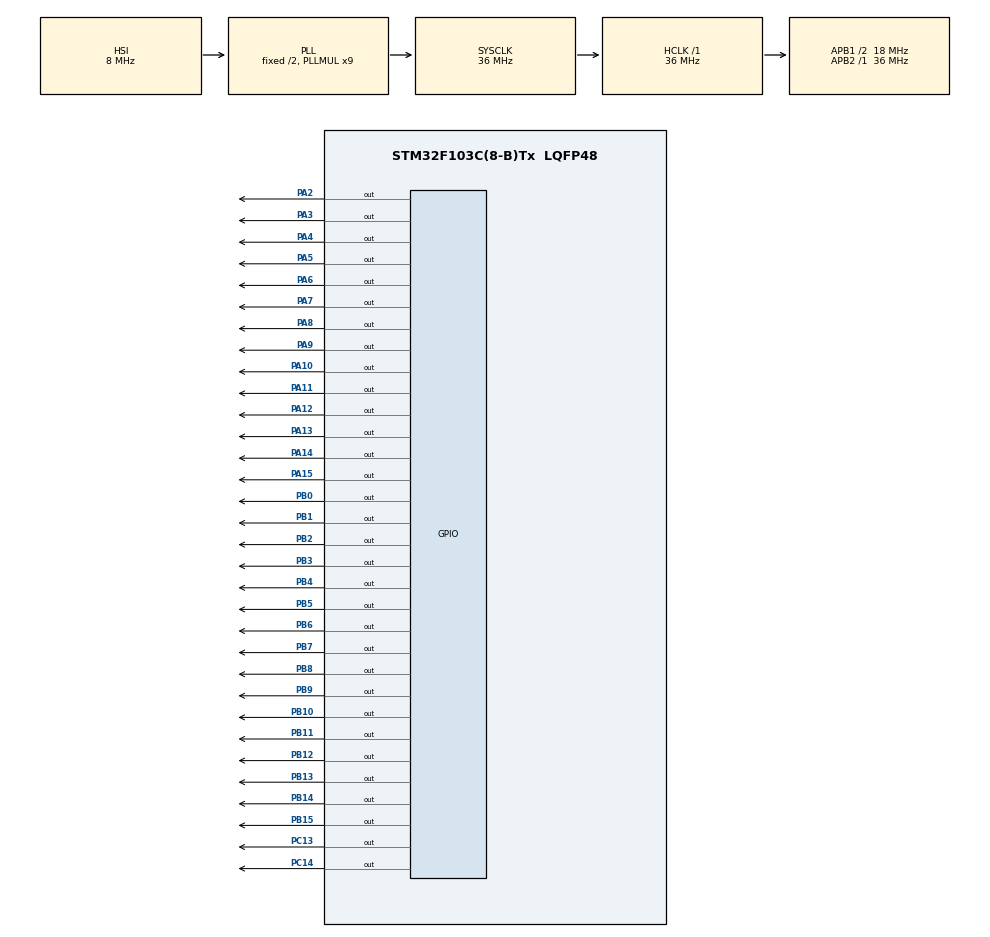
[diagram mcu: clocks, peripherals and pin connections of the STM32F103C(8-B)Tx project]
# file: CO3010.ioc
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Mcu.Family=STM32F1
Mcu.Name=STM32F103C(8-B)Tx
Mcu.Package=LQFP48
NVIC.PriorityGroup=NVIC_PRIORITYGROUP_4
NVIC.TIM2_IRQn=true\:0\:0\:false\:false\:true\:true\:true\:true
PA10.GPIO_ModeDefault=GPIO_MODE_OUTPUT_PP
PA10.Signal=GPIO_Output
PA11.GPIO_ModeDefault=GPIO_OUTPUT_PP
PA11.Signal=GPIO_Output
PA12.Signal=GPIO_Output
PA13.Signal=GPIO_Output
PA14.Signal=GPIO_Output
PA15.Signal=GPIO_Output
PA2.Signal=GPIO_Output
PA3.Signal=GPIO_Output
PA4.GPIO_ModeDefault=GPIO_MODE_OUTPUT_PP
PA4.Signal=GPIO_Output
PA5.GPIO_ModeDefault=GPIO_MODE_OUTPUT_PP
PA5.Signal=GPIO_Output
PA6.GPIO_ModeDefault=GPIO_MODE_OUTPUT_PP
PA6.Signal=GPIO_Output
PA7.GPIO_ModeDefault=GPIO_MODE_OUTPUT_PP
PA7.Signal=GPIO_Output
PA8.Signal=GPIO_Output
PA9.GPIO_ModeDefault=GPIO_MODE_OUTPUT_PP
PA9.Signal=GPIO_Output
PB0.Signal=GPIO_Output
PB1.Signal=GPIO_Output
PB10.Signal=GPIO_Output
PB11.Signal=GPIO_Output
PB12.Signal=GPIO_Output
PB13.Signal=GPIO_Output
PB14.Signal=GPIO_Output
PB15.Signal=GPIO_Output
PB2.Signal=GPIO_Output
PB3.Signal=GPIO_Output
PB4.Signal=GPIO_Output
PB5.Signal=GPIO_Output
PB6.Signal=GPIO_Output
PB7.Signal=GPIO_Output
PB8.Signal=GPIO_Output
PB9.Signal=GPIO_Output
PC13-TAMPER-RTC.GPIO_ModeDefault=GPIO_MODE_OUTPUT_PP
PC13-TAMPER-RTC.Signal=GPIO_Output
PC14-OSC32_IN.GPIO_ModeDefault=GPIO_MODE_OUTPUT_PP
PC14-OSC32_IN.Signal=GPIO_Output
ProjectManager.HeapSize=0x200
ProjectManager.StackSize=0x400
ProjectManager.TargetToolchain=CMake
RCC.AHBFreq_Value=36000000
RCC.APB1CLKDivider=RCC_HCLK_DIV2
RCC.APB1Freq_Value=18000000
RCC.APB1TimFreq_Value=36000000
RCC.APB2Freq_Value=36000000
RCC.APB2TimFreq_Value=36000000
RCC.HCLKFreq_Value=36000000
RCC.PLLMUL=RCC_PLL_MUL9
RCC.SYSCLKFreq_VALUE=36000000
RCC.SYSCLKSource=RCC_SYSCLKSOURCE_PLLCLK
RCC.USBFreq_Value=36000000
TIM2.Period=9
TIM2.Prescaler=35999
VP_SYS_VS_ND.Mode=No_Debug
VP_TIM2_VS_ClockSourceINT.Mode=Internal
board=custom

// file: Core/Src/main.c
/* USER CODE BEGIN Header */
/**
 ******************************************************************************
 * @file           : main.c
 * @brief          : Main program body
 ******************************************************************************
 * @attention
 *
 * Copyright (c) 2026 STMicroelectronics.
 * All rights reserved.
 *
 * This software is licensed under terms that can be found in the LICENSE file
 * in the root directory of this software component.
 * If no LICENSE file comes with this software, it is provided AS-IS.
 *
 ******************************************************************************
 */
/* USER CODE END Header */
#include "main.h"

/* USER CODE BEGIN Includes */
#include "seg7.h"
/* USER CODE END Includes */

/* USER CODE BEGIN PD */
#define MATRIX_ROW_PORT GPIOB
#define MATRIX_COL_PORT GPIOA
#define DIGIT_EN_PORT GPIOA
#define SEG_PORT GPIOB
#define LED_D1_PIN GPIO_PIN_5 // PA5: Active LOW
#define DOT_PIN GPIO_PIN_4    // PA4
#define LED_NUM 4
#define DOT GPIO_PIN_4
#define TICK_INTERVAL_MS 10
#define SOFT_TIMER_NUM_MAX 10
#define MAX_LED_MATRIX 8

/* USER CODE END PD */

TIM_HandleTypeDef htim2;

/* USER CODE BEGIN PV */
/* Row pins PB8 -> PB15 (Anodes) */
static uint16_t matrix_row_pins[8] = {
    GPIO_PIN_8,  // ROW0
    GPIO_PIN_9,  // ROW1
    GPIO_PIN_10, // ROW2
    GPIO_PIN_11, // ROW3
    GPIO_PIN_12, // ROW4
    GPIO_PIN_13, // ROW5
    GPIO_PIN_14, // ROW6
    GPIO_PIN_15  // ROW7
};

/* Column enable pins ENM0 -> ENM7 (ULN2803 inputs on GPIOA) */
static uint16_t matrix_col_pins[8] = {
    GPIO_PIN_2,  // ENM0 -> COL0
    GPIO_PIN_3,  // ENM1 -> COL1
    GPIO_PIN_10, // ENM2 -> COL2
    GPIO_PIN_11, // ENM3 -> COL3
    GPIO_PIN_12, // ENM4 -> COL4
    GPIO_PIN_13, // ENM5 -> COL5
    GPIO_PIN_14, // ENM6 -> COL6
    GPIO_PIN_15  // ENM7 -> COL7
};

/* 7-Segment segment pins PB0 -> PB7 (Cathodes for Common Anode) */
static uint16_t seg_pins[8] = {
    GPIO_PIN_0, GPIO_PIN_1, GPIO_PIN_2, GPIO_PIN_3,
    GPIO_PIN_4, GPIO_PIN_5, GPIO_PIN_6, GPIO_PIN_7};

/* 7-Segment digit enable pins EN0 -> EN3 on GPIOA (Common Anode: Active HIGH) */
static uint16_t digit_en_pins[4] = {
    GPIO_PIN_6, // EN0
    GPIO_PIN_7, // EN1
    GPIO_PIN_8, // EN2
    GPIO_PIN_9  // EN3
};

/* Digits to display on the 4 7-segment displays */
static uint8_t led_buffer[4] = {1, 2, 3, 0};

/* 8x8 LED Matrix Heart Bitmap (Column-scanned: bit r = Row r, active HIGH) */
static uint8_t matrix_bitmap[8] = {
    0x00, // Col 0: 00000000
    0xFC, // Col 1: 11111100
    0x12, // Col 2: 00010010
    0x11, // Col 3: 00010001
    0x11, // Col 4: 00010001
    0x12, // Col 5: 00010010
    0xFC, // Col 6: 11111100
    0x00  // Col 7: 00000000
};

/* Multiplexing and timing tracking variables */
static volatile uint8_t current_matrix_col = 0;
static volatile uint8_t current_seg7_digit = 0;
static volatile uint16_t seg7_timer_counter = 0;
static volatile uint16_t d1_blink_counter = 0;
static volatile uint8_t counter = 0;
static volatile uint8_t dot_counter = 2;
static volatile uint8_t timer_flag[SOFT_TIMER_NUM_MAX] = {0};     // Flags for software timers
static volatile uint16_t timer_counter[SOFT_TIMER_NUM_MAX] = {0}; // Counters for software timers
static seg7_handle_t seg7_handler = {0};                          // Current segment states for 7-segment display
int hour = 15, minute = 8, second = 50;
/* USER CODE END PV */

void SystemClock_Config(void);
static void MX_GPIO_Init(void);
static void MX_TIM2_Init(void);
/* USER CODE BEGIN PFP */
void setTimer(uint8_t timer_index, uint16_t duration_ms);
void timerRun(void);

void HAL_TIM_PeriodElapsedCallback(TIM_HandleTypeDef *htim);
void update7SEG(int index);
void updateClockBuffer();
void updateMatrixRows(uint8_t col_index);
void updateLedMatrix(uint8_t index);
void clearMatrix();
/* USER CODE END PFP */

/* USER CODE BEGIN 0 */
void setTimer(uint8_t timer_index, uint16_t duration_ms)
{
  timer_counter[timer_index] = duration_ms / TICK_INTERVAL_MS; // convert duration to ticks
  timer_flag[timer_index] = 0;                                 // clear the timer if the index is out of range
}

void timerRun(void)
{
  for (uint8_t i = 0; i < SOFT_TIMER_NUM_MAX; i++)
  {
    if (timer_counter[i] > 0)
    {
      timer_counter[i]--;
      if (timer_counter[i] == 0)
      {
        timer_flag[i] = 1; // set the flag when the timer expires
      }
    }
  }
}

void update7SEG(int index)
{
  for (uint8_t i = 0; i < LED_NUM; i++)
  {
    HAL_GPIO_WritePin(GPIOA, digit_en_pins[i], GPIO_PIN_SET);
  }

  HAL_GPIO_WritePin(GPIOA, digit_en_pins[index], GPIO_PIN_RESET);

  if (index < 0 || index >= LED_NUM)
    return;

  SEG7Set_Digit(&seg7_handler, led_buffer[index]);
}

void updateClockBuffer()
{
  led_buffer[0] = hour / 10;
  led_buffer[1] = hour - 10 * led_buffer[0];
  led_buffer[2] = minute / 10;
  led_buffer[3] = minute - 10 * led_buffer[2];
}

// Use for column scanning

void updateMatrixRows(uint8_t col_index)
{
  if (col_index >= MAX_LED_MATRIX)
    return;

  // Turn off all columns first
  clearMatrix();

  // Set the rows based on the bitmap for the current column
  HAL_GPIO_WritePin(MATRIX_COL_PORT, matrix_col_pins[col_index], GPIO_PIN_RESET);
  uint8_t row_data = matrix_bitmap[col_index];
  for (uint8_t row = 0; row < MAX_LED_MATRIX; row++)
  {
    GPIO_PinState pin_state = (row_data & (1 << row)) ? GPIO_PIN_RESET : GPIO_PIN_SET;
    HAL_GPIO_WritePin(MATRIX_ROW_PORT, matrix_row_pins[row], pin_state);
  }

  // Enable the current column
}

void clearMatrix()
{
  for (uint8_t i = 0; i < MAX_LED_MATRIX; i++)
  {
    HAL_GPIO_WritePin(MATRIX_COL_PORT, matrix_col_pins[i], GPIO_PIN_SET);
  }
  for (uint8_t row = 0; row < MAX_LED_MATRIX; row++)
  {
    HAL_GPIO_WritePin(MATRIX_ROW_PORT, matrix_row_pins[row], GPIO_PIN_SET);
  }
}

void updateLedMatrix(uint8_t index)
{
  switch (index)
  {
  case 0:
    updateMatrixRows(0);
    break;

  case 1:
    updateMatrixRows(1);
    break;

  case 2:
    updateMatrixRows(2);
    break;

  case 3:
    updateMatrixRows(3);
    break;

  case 4:
    updateMatrixRows(4);
    break;

  case 5:
    updateMatrixRows(5);
    break;

  case 6:
    updateMatrixRows(6);
    break;

  case 7:
    updateMatrixRows(7);
    break;

  default:
    break;
  }
}

/* USER CODE END 0 */

int main(void)
{

  /* MCU Configuration--------------------------------------------------------*/

  /* Reset of all peripherals, Initializes the Flash interface and the Systick. */
  HAL_Init();

  /* Configure the system clock */
  SystemClock_Config();

  /* Initialize all configured peripherals */
  MX_GPIO_Init();
  MX_TIM2_Init();
  /* USER CODE BEGIN 2 */
  /* Start TIM2 in Interrupt mode (1 ms tick) */
  if (HAL_TIM_Base_Start_IT(&htim2) != HAL_OK)
  {
    Error_Handler();
  }
  /* USER CODE END 2 */

  /* Infinite loop */
  /* USER CODE BEGIN WHILE */

  SEG7Init(&seg7_handler, SEG7_COMMON_ANODE, SEG_PORT, seg_pins);
  for (uint8_t i = 0; i < SOFT_TIMER_NUM_MAX; i++)
  {
    setTimer(i, 0); // Reset all software timers to 0
  }
  clearMatrix();

  setTimer(0, 1000); // Set timer 0 for 1 second
  setTimer(1, 250);
  setTimer(2, 500); // Set timer 1 for 500 ms
  setTimer(3, 50);  // Set timer 2 for 1 second
  while (1)
  {
    /* USER CODE END WHILE */

    /* USER CODE BEGIN 3 */
    if (timer_flag[0])
    {
      timer_flag[0] = 0; // Clear the flag
      setTimer(0, 1000); // Reset timer 0 for another second
      second++;
      if (second >= 60)
      {
        second = 0;
        minute++;
        if (minute >= 60)
        {
          minute = 0;
          hour++;
          if (hour >= 24)
          {
            hour = 0;
          }
        }
      }
      updateClockBuffer();
      // shift right the bitmap
      uint8_t tmp = matrix_bitmap[7];
      for (uint8_t i = 7; i > 0; i--)
      {
        matrix_bitmap[i] = matrix_bitmap[i - 1];
      }
      matrix_bitmap[0] = tmp;
    }
    if (timer_flag[1])
    {
      timer_flag[1] = 0; // Clear the flag
      setTimer(1, 250);  // Reset timer 1 for another 250 ms
      update7SEG(current_seg7_digit);
      current_seg7_digit = (current_seg7_digit + 1) % LED_NUM;
    }
    if (timer_flag[2])
    {
      timer_flag[2] = 0;                  // Clear the flag
      setTimer(2, 500);                   // Reset timer 2 for another 500 ms
      HAL_GPIO_TogglePin(GPIOA, DOT_PIN); // Toggle the dot
    }
    if (timer_flag[3])
    {
      timer_flag[3] = 0; // Clear the flag
      setTimer(3, 50);   // Reset timer 3 for another 100 ms
      updateLedMatrix(current_matrix_col);
      current_matrix_col = (current_matrix_col + 1) % MAX_LED_MATRIX;
    }
  }
  /* USER CODE END 3 */
}

void SystemClock_Config(void)
{
  RCC_OscInitTypeDef RCC_OscInitStruct = {0};
  RCC_ClkInitTypeDef RCC_ClkInitStruct = {0};

  /** Initializes the RCC Oscillators according to the specified parameters
   * in the RCC_OscInitTypeDef structure.
   */
  RCC_OscInitStruct.OscillatorType = RCC_OSCILLATORTYPE_HSI;
  RCC_OscInitStruct.HSIState = RCC_HSI_ON;
  RCC_OscInitStruct.HSICalibrationValue = RCC_HSICALIBRATION_DEFAULT;
  RCC_OscInitStruct.PLL.PLLState = RCC_PLL_ON;
  RCC_OscInitStruct.PLL.PLLSource = RCC_PLLSOURCE_HSI_DIV2;
  RCC_OscInitStruct.PLL.PLLMUL = RCC_PLL_MUL9;
  if (HAL_RCC_OscConfig(&RCC_OscInitStruct) != HAL_OK)
  {
    Error_Handler();
  }

  /** Initializes the CPU, AHB and APB buses clocks
   */
  RCC_ClkInitStruct.ClockType = RCC_CLOCKTYPE_HCLK | RCC_CLOCKTYPE_SYSCLK | RCC_CLOCKTYPE_PCLK1 | RCC_CLOCKTYPE_PCLK2;
  RCC_ClkInitStruct.SYSCLKSource = RCC_SYSCLKSOURCE_PLLCLK;
  RCC_ClkInitStruct.AHBCLKDivider = RCC_SYSCLK_DIV1;
  RCC_ClkInitStruct.APB1CLKDivider = RCC_HCLK_DIV2;
  RCC_ClkInitStruct.APB2CLKDivider = RCC_HCLK_DIV1;

  if (HAL_RCC_ClockConfig(&RCC_ClkInitStruct, FLASH_LATENCY_1) != HAL_OK)
  {
    Error_Handler();
  }
}

static void MX_TIM2_Init(void)
{

  TIM_ClockConfigTypeDef sClockSourceConfig = {0};
  TIM_MasterConfigTypeDef sMasterConfig = {0};

  htim2.Instance = TIM2;
  htim2.Init.Prescaler = 35999;
  htim2.Init.CounterMode = TIM_COUNTERMODE_UP;
  htim2.Init.Period = 9;
  htim2.Init.ClockDivision = TIM_CLOCKDIVISION_DIV1;
  htim2.Init.AutoReloadPreload = TIM_AUTORELOAD_PRELOAD_DISABLE;
  if (HAL_TIM_Base_Init(&htim2) != HAL_OK)
  {
    Error_Handler();
  }
  sClockSourceConfig.ClockSource = TIM_CLOCKSOURCE_INTERNAL;
  if (HAL_TIM_ConfigClockSource(&htim2, &sClockSourceConfig) != HAL_OK)
  {
    Error_Handler();
  }
  sMasterConfig.MasterOutputTrigger = TIM_TRGO_RESET;
  sMasterConfig.MasterSlaveMode = TIM_MASTERSLAVEMODE_DISABLE;
  if (HAL_TIMEx_MasterConfigSynchronization(&htim2, &sMasterConfig) != HAL_OK)
  {
    Error_Handler();
  }
}

static void MX_GPIO_Init(void)
{
  GPIO_InitTypeDef GPIO_InitStruct = {0};
  /* USER CODE BEGIN MX_GPIO_Init_1 */
  /* Enable AFIO clock and disable JTAG/SWD to release PA13, PA14, PA15, PB3, PB4 */
  __HAL_RCC_AFIO_CLK_ENABLE();
  __HAL_AFIO_REMAP_SWJ_DISABLE();
  /* USER CODE END MX_GPIO_Init_1 */

  /* GPIO Ports Clock Enable */
  __HAL_RCC_GPIOC_CLK_ENABLE();
  __HAL_RCC_GPIOA_CLK_ENABLE();
  __HAL_RCC_GPIOB_CLK_ENABLE();

  /*Configure GPIO pin Output Level */
  HAL_GPIO_WritePin(GPIOC, GPIO_PIN_13 | GPIO_PIN_14, GPIO_PIN_RESET);

  /*Configure GPIO pin Output Level */
  HAL_GPIO_WritePin(GPIOA, GPIO_PIN_2 | GPIO_PIN_3 | GPIO_PIN_4 | GPIO_PIN_5 | GPIO_PIN_6 | GPIO_PIN_7 | GPIO_PIN_8 | GPIO_PIN_9 | GPIO_PIN_10 | GPIO_PIN_11 | GPIO_PIN_12 | GPIO_PIN_13 | GPIO_PIN_14 | GPIO_PIN_15, GPIO_PIN_RESET);

  /*Configure GPIO pin Output Level */
  HAL_GPIO_WritePin(GPIOB, GPIO_PIN_0 | GPIO_PIN_1 | GPIO_PIN_2 | GPIO_PIN_10 | GPIO_PIN_11 | GPIO_PIN_12 | GPIO_PIN_13 | GPIO_PIN_14 | GPIO_PIN_15 | GPIO_PIN_3 | GPIO_PIN_4 | GPIO_PIN_5 | GPIO_PIN_6 | GPIO_PIN_7 | GPIO_PIN_8 | GPIO_PIN_9, GPIO_PIN_RESET);

  /*Configure GPIO pins : PC13 PC14 */
  GPIO_InitStruct.Pin = GPIO_PIN_13 | GPIO_PIN_14;
  GPIO_InitStruct.Mode = GPIO_MODE_OUTPUT_PP;
  GPIO_InitStruct.Pull = GPIO_NOPULL;
  GPIO_InitStruct.Speed = GPIO_SPEED_FREQ_LOW;
  HAL_GPIO_Init(GPIOC, &GPIO_InitStruct);

  /*Configure GPIO pins : PA2 PA3 PA4 PA5
                           PA6 PA7 PA8 PA9
                           PA10 PA11 PA12 PA13
                           PA14 PA15 */
  GPIO_InitStruct.Pin = GPIO_PIN_2 | GPIO_PIN_3 | GPIO_PIN_4 | GPIO_PIN_5 | GPIO_PIN_6 | GPIO_PIN_7 | GPIO_PIN_8 | GPIO_PIN_9 | GPIO_PIN_10 | GPIO_PIN_11 | GPIO_PIN_12 | GPIO_PIN_13 | GPIO_PIN_14 | GPIO_PIN_15;
  GPIO_InitStruct.Mode = GPIO_MODE_OUTPUT_PP;
  GPIO_InitStruct.Pull = GPIO_NOPULL;
  GPIO_InitStruct.Speed = GPIO_SPEED_FREQ_LOW;
  HAL_GPIO_Init(GPIOA, &GPIO_InitStruct);

  /*Configure GPIO pins : PB0 PB1 PB2 PB10
                           PB11 PB12 PB13 PB14
                           PB15 PB3 PB4 PB5
                           PB6 PB7 PB8 PB9 */
  GPIO_InitStruct.Pin = GPIO_PIN_0 | GPIO_PIN_1 | GPIO_PIN_2 | GPIO_PIN_10 | GPIO_PIN_11 | GPIO_PIN_12 | GPIO_PIN_13 | GPIO_PIN_14 | GPIO_PIN_15 | GPIO_PIN_3 | GPIO_PIN_4 | GPIO_PIN_5 | GPIO_PIN_6 | GPIO_PIN_7 | GPIO_PIN_8 | GPIO_PIN_9;
  GPIO_InitStruct.Mode = GPIO_MODE_OUTPUT_PP;
  GPIO_InitStruct.Pull = GPIO_NOPULL;
  GPIO_InitStruct.Speed = GPIO_SPEED_FREQ_LOW;
  HAL_GPIO_Init(GPIOB, &GPIO_InitStruct);

  /* USER CODE BEGIN MX_GPIO_Init_2 */
  /* Initialize PA2 & PA3 (ENM0, ENM1) which are missing from default configuration */
  GPIO_InitStruct.Pin = GPIO_PIN_2 | GPIO_PIN_3;
  GPIO_InitStruct.Mode = GPIO_MODE_OUTPUT_PP;
  GPIO_InitStruct.Pull = GPIO_NOPULL;
  GPIO_InitStruct.Speed = GPIO_SPEED_FREQ_LOW;
  HAL_GPIO_Init(GPIOA, &GPIO_InitStruct);

  /* Set default safe pin states:
   * - Columns ENM0..ENM7: LOW (ULN2803 is OFF)
   * - Rows ROW0..ROW7: LOW (Matrix LEDs OFF)
   * - Digit enables EN0..EN3: LOW (7-seg OFF)
   * - Segments SEG0..SEG6: HIGH (Common Anode segments OFF)
   * - Single LED D1: HIGH (Active LOW -> D1 is OFF)
   * - Dot: HIGH (OFF)
   */
  HAL_GPIO_WritePin(GPIOA, GPIO_PIN_2 | GPIO_PIN_3 | GPIO_PIN_6 | GPIO_PIN_7 | GPIO_PIN_8 | GPIO_PIN_9 | GPIO_PIN_10 | GPIO_PIN_11 | GPIO_PIN_12 | GPIO_PIN_13 | GPIO_PIN_14 | GPIO_PIN_15, GPIO_PIN_RESET);
  HAL_GPIO_WritePin(GPIOA, GPIO_PIN_4 | GPIO_PIN_5, GPIO_PIN_SET);
  HAL_GPIO_WritePin(GPIOB, GPIO_PIN_0 | GPIO_PIN_1 | GPIO_PIN_2 | GPIO_PIN_3 | GPIO_PIN_4 | GPIO_PIN_5 | GPIO_PIN_6, GPIO_PIN_SET);
  HAL_GPIO_WritePin(GPIOB, GPIO_PIN_8 | GPIO_PIN_9 | GPIO_PIN_10 | GPIO_PIN_11 | GPIO_PIN_12 | GPIO_PIN_13 | GPIO_PIN_14 | GPIO_PIN_15, GPIO_PIN_RESET);
  /* USER CODE END MX_GPIO_Init_2 */
}

/* USER CODE BEGIN 4 */
void HAL_TIM_PeriodElapsedCallback(TIM_HandleTypeDef *htim)
{
  timerRun();
}
/* USER CODE END 4 */

void Error_Handler(void)
{
  __disable_irq();
  while (1)
  {
  }
}
